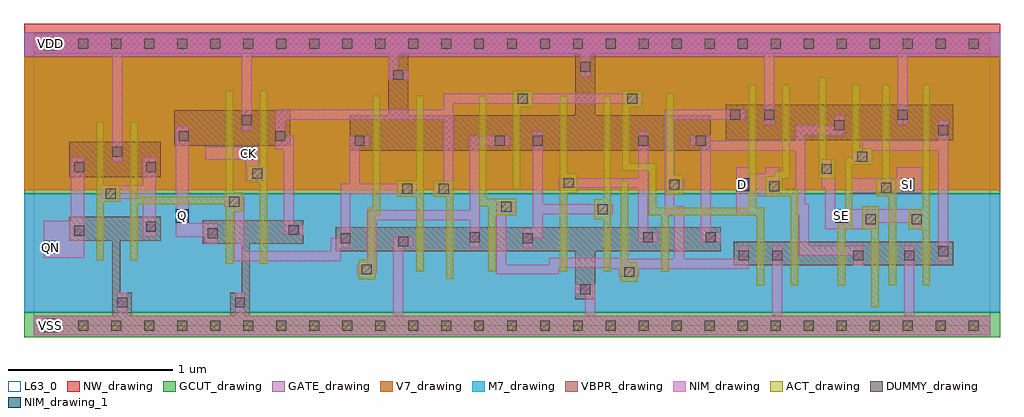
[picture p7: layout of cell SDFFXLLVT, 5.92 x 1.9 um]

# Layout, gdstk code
import gdstk
lib = gdstk.Library(unit=1e-6, precision=5e-10)
def R(c, l, rs):  # rectangles x0, y0, x1, y1
    for r in rs: c.add(gdstk.rectangle(r[:2], r[2:], *l))
def A(c, l, x, y, w, h, nx, ny, dx, dy):  # array of equal rectangles
    R(c, l, [(x+i*dx, y+j*dy, x+i*dx+w, y+j*dy+h) for i in range(nx) for j in range(ny)])
def P(c, l, *ps):  # polygons
    for p in ps: c.add(gdstk.Polygon(p, *l))
VBPR_drawing = (1, 0)
NW_drawing = (2, 0)
ACT_drawing = (3, 0)
GATE_drawing = (4, 0)
GCUT_drawing = (5, 0)
DUMMY_drawing = (6, 0)
NIM_drawing = (7, 0)
NIM_drawing_1 = (7, 1)
M7_drawing = (26, 0)
V7_drawing = (27, 0)
L63_0 = (63, 0)

sdffxllvt = lib.new_cell('SDFFXLLVT')
R(sdffxllvt, VBPR_drawing, [(0,-0.06,5.8,0.06), (4.245,0.365,5.575,0.51), (0.215,0.9,0.77,1.115), (0.85,1.09,1.555,1.305), (4.195,1.125,5.575,1.34), (0,1.65,5.8,1.77)])
P(sdffxllvt, VBPR_drawing, [(4.105,1.275),(3.405,1.275),(3.405,1.65),(3.285,1.65),(3.285,1.275),(2.27,1.275),(2.27,1.65),(2.15,1.65),(2.15,1.275),(1.915,1.275),(1.915,1.06),(4.105,1.06)],
  [(1.635,0.64),(1.025,0.64),(1.025,0.495),(1.26,0.495),(1.26,0.2),(1.19,0.2),(1.19,0.06),(1.31,0.06),(1.31,0.495),(1.635,0.495)],
  [(1.83,0.595),(4.165,0.595),(4.165,0.45),(3.405,0.45),(3.405,0.16),(3.285,0.16),(3.285,0.45),(1.83,0.45)],
  [(0.77,0.66),(0.215,0.66),(0.215,0.515),(0.475,0.515),(0.475,0.06),(0.595,0.06),(0.595,0.2),(0.525,0.2),(0.525,0.515),(0.77,0.515)])
R(sdffxllvt, NW_drawing, [(-0.06,0.82,5.86,1.83)])
P(sdffxllvt, ACT_drawing, [(0.585,1.235),(0.63,1.235),(0.63,0.78),(1.165,0.78),(1.165,1.425),(1.21,1.425),(1.21,0.81),(1.265,0.81),(1.265,0.69),(1.21,0.69),(1.21,0.375),(1.165,0.375),(1.165,0.735),(0.63,0.735),(0.63,0.395),(0.585,0.395)],
  [(1.37,1.425),(1.415,1.425),(1.415,0.375),(1.37,0.375),(1.37,0.87),(1.295,0.87),(1.295,0.97),(1.37,0.97)],
  [(2.905,1.425),(3.025,1.425),(3.025,1.325),(2.95,1.325),(2.95,0.83),(2.905,0.83)],
  [(0.38,1.235),(0.425,1.235),(0.425,0.85),(0.525,0.85),(0.525,0.75),(0.425,0.75),(0.425,0.395),(0.38,0.395)],
  [(2.055,1.395),(2.1,1.395),(2.1,0.67),(2.07,0.67),(2.07,0.28),(1.97,0.28),(1.97,0.4),(2.025,0.4),(2.025,0.715),(2.055,0.715)],
  [(2.32,1.395),(2.365,1.395),(2.365,0.33),(2.32,0.33),(2.32,0.78),(2.205,0.78),(2.205,0.88),(2.32,0.88)],
  [(2.7,1.395),(2.745,1.395),(2.745,0.77),(2.925,0.77),(2.925,0.67),(2.8,0.67),(2.8,0.33),(2.755,0.33),(2.755,0.725),(2.7,0.725)],
  [(3.19,1.395),(3.235,1.395),(3.235,0.925),(3.295,0.925),(3.295,0.805),(3.235,0.805),(3.235,0.33),(3.19,0.33)],
  [(3.57,1.425),(3.69,1.425),(3.69,1.325),(3.615,1.325),(3.615,0.985),(3.775,0.985),(3.775,0.715),(4.335,0.715),(4.335,1.46),(4.38,1.46),(4.38,0.715),(4.43,0.715),(4.43,0.245),(4.385,0.245),(4.385,0.67),(3.85,0.67),(3.85,0.33),(3.805,0.33),(3.805,0.67),(3.73,0.67),(3.73,0.94),(3.57,0.94)],
  [(3.455,1.395),(3.5,1.395),(3.5,0.33),(3.455,0.33),(3.455,0.645),(3.4,0.645),(3.4,0.765),(3.455,0.765)],
  [(3.835,1.41),(3.88,1.41),(3.88,0.915),(3.935,0.915),(3.935,0.795),(3.835,0.795)],
  [(4.54,1.46),(4.585,1.46),(4.585,0.89),(4.54,0.89),(4.54,0.83),(4.635,0.83),(4.635,0.245),(4.59,0.245),(4.59,0.785),(4.44,0.785),(4.44,0.905),(4.495,0.905),(4.495,0.935),(4.54,0.935)],
  [(4.76,1.505),(4.805,1.505),(4.805,1.01),(4.86,1.01),(4.86,0.89),(4.76,0.89)],
  [(4.965,1.46),(5.01,1.46),(5.01,1.075),(5.085,1.075),(5.085,0.975),(4.965,0.975),(4.965,0.585),(4.92,0.585),(4.92,0.245),(4.875,0.245),(4.875,0.63),(4.92,0.63),(4.92,1.02),(4.965,1.02)],
  [(5.145,1.46),(5.19,1.46),(5.19,0.885),(5.23,0.885),(5.23,0.245),(5.185,0.245),(5.185,0.785),(5.11,0.785),(5.11,0.885),(5.145,0.885)],
  [(5.39,1.46),(5.435,1.46),(5.435,0.245),(5.39,0.245),(5.39,0.585),(5.305,0.585),(5.305,0.705),(5.39,0.705)],
  [(2.425,0.88),(2.545,0.88),(2.545,0.285),(2.5,0.285),(2.5,0.78),(2.425,0.78)],
  [(3.56,0.88),(3.605,0.88),(3.605,0.385),(3.66,0.385),(3.66,0.265),(3.56,0.265)],
  [(5.025,0.725),(5.125,0.725),(5.125,0.11),(5.08,0.11),(5.08,0.585),(5.025,0.585)])
R(sdffxllvt, GATE_drawing, [(-0.06,0.08,5.86,0.8), (-0.06,1.63,5.86,1.78)])
R(sdffxllvt, GCUT_drawing, [(-0.06,-0.07,5.86,0.08), (-0.06,0.8,5.86,1.63)])
A(sdffxllvt, DUMMY_drawing, 0.07, -0.03, 0.06, 0.06, 29, 2, 0.2, 1.71)
R(sdffxllvt, DUMMY_drawing, [(0.505,0.11,0.565,0.17), (1.22,0.11,1.28,0.17), (3.315,0.19,3.375,0.25), (3.58,0.295,3.64,0.355), (1.99,0.31,2.05,0.37), (4.275,0.395,4.335,0.455), (4.48,0.395,4.54,0.455), (4.97,0.395,5.03,0.455), (5.28,0.395,5.34,0.455), (5.485,0.42,5.545,0.48), (2.21,0.48,2.27,0.54), (1.86,0.5,1.92,0.56), (2.965,0.5,3.025,0.56), (2.645,0.505,2.705,0.565), (3.695,0.505,3.755,0.565), (4.075,0.505,4.135,0.565), (1.055,0.53,1.115,0.59), (0.245,0.545,0.305,0.605), (1.545,0.55,1.605,0.61), (0.68,0.57,0.74,0.63), (5.045,0.615,5.105,0.675), (5.325,0.615,5.385,0.675), (3.42,0.675,3.48,0.735), (2.835,0.69,2.895,0.75), (1.185,0.72,1.245,0.78), (0.435,0.77,0.495,0.83), (2.235,0.8,2.295,0.86), (2.455,0.8,2.515,0.86), (5.14,0.805,5.2,0.865), (4.46,0.815,4.52,0.875), (3.855,0.825,3.915,0.885), (3.215,0.835,3.275,0.895), (1.325,0.89,1.385,0.95), (4.78,0.92,4.84,0.98), (0.245,0.93,0.305,0.99), (0.68,0.93,0.74,0.99), (4.995,0.995,5.055,1.055), (0.475,1.025,0.535,1.085), (1.945,1.09,2.005,1.15), (2.795,1.09,2.855,1.15), (3.025,1.09,3.085,1.15), (3.665,1.09,3.725,1.15), (4.015,1.09,4.075,1.15), (0.88,1.12,0.94,1.18), (1.465,1.12,1.525,1.18), (5.485,1.155,5.545,1.215), (4.855,1.185,4.915,1.245), (1.26,1.215,1.32,1.275), (4.225,1.25,4.285,1.31), (4.43,1.25,4.49,1.31), (5.24,1.25,5.3,1.31), (2.935,1.345,2.995,1.405), (3.6,1.345,3.66,1.405), (2.18,1.49,2.24,1.55), (3.315,1.54,3.375,1.6)])
R(sdffxllvt, NIM_drawing, [(0.505,0.06,0.565,0.2), (1.22,0.06,1.28,0.2), (4.48,0.06,4.54,0.485), (5.28,0.06,5.34,0.485), (0.475,0.995,0.535,1.65), (1.26,1.185,1.32,1.65), (4.43,1.22,4.49,1.65), (5.24,1.22,5.3,1.65), (3.315,1.51,3.375,1.65)])
P(sdffxllvt, NIM_drawing, [(2.27,1.55),(2.21,1.55),(2.21,1.65),(2.15,1.65),(2.15,1.49),(2.27,1.49)],
  [(2.3,0.54),(2.18,0.54),(2.18,0.06),(2.24,0.06),(2.24,0.48),(2.3,0.48)],
  [(3.405,0.25),(3.285,0.25),(3.285,0.19),(3.345,0.19),(3.345,0.06),(3.405,0.06)],
  [(2.485,1.405),(3.69,1.405),(3.69,1.345),(2.545,1.345),(2.545,0.8),(2.425,0.8),(2.425,0.86),(2.485,0.86),(2.485,1.25),(1.525,1.25),(1.525,1.15),(1.575,1.15),(1.575,0.61),(1.635,0.61),(1.635,0.55),(1.515,0.55),(1.515,1.07),(1.465,1.07),(1.465,1.31),(2.485,1.31)],
  [(0.225,1.02),(0.305,1.02),(0.305,0.41),(0.06,0.41),(0.06,0.635),(0.225,0.635)],
  [(0.86,1.21),(0.94,1.21),(0.94,0.62),(1.115,0.62),(1.115,0.5),(1.035,0.5),(1.035,0.54),(0.86,0.54)],
  [(0.66,1.02),(0.74,1.02),(0.74,0.54),(0.66,0.54),(0.66,0.77),(0.405,0.77),(0.405,0.85),(0.66,0.85)],
  [(1.04,1.085),(1.365,1.085),(1.365,0.96),(1.415,0.96),(1.415,0.88),(1.285,0.88),(1.285,1.005),(1.04,1.005)],
  [(1.915,1.15),(2.035,1.15),(2.035,1.09),(1.975,1.09),(1.975,0.86),(2.325,0.86),(2.325,0.8),(1.92,0.8),(1.92,0.47),(1.86,0.47),(1.86,0.39),(1.215,0.39),(1.215,0.72),(1.155,0.72),(1.155,0.78),(1.275,0.78),(1.275,0.45),(1.8,0.45),(1.8,0.53),(1.86,0.53),(1.86,0.86),(1.915,0.86)],
  [(3.825,1.31),(4.315,1.31),(4.315,1.25),(3.885,1.25),(3.885,0.885),(3.945,0.885),(3.945,0.825),(3.885,0.825),(3.885,0.725),(3.945,0.725),(3.945,0.405),(4.275,0.405),(4.275,0.485),(4.335,0.485),(4.335,0.345),(3.67,0.345),(3.67,0.295),(3.55,0.295),(3.55,0.345),(3.505,0.345),(3.505,0.35),(3.185,0.35),(3.185,0.31),(2.805,0.31),(2.805,0.75),(2.925,0.75),(2.925,0.69),(2.865,0.69),(2.865,0.37),(3.125,0.37),(3.125,0.41),(3.565,0.41),(3.565,0.405),(3.885,0.405),(3.885,0.665),(3.825,0.665)],
  [(3.025,1.18),(3.085,1.18),(3.085,0.735),(3.51,0.735),(3.51,0.675),(3.085,0.675),(3.085,0.53),(3.025,0.53),(3.025,0.47),(2.965,0.47),(2.965,0.59),(3.025,0.59)],
  [(2.645,1.15),(2.885,1.15),(2.885,1.09),(2.705,1.09),(2.705,0.475),(2.645,0.475),(2.645,0.64),(2.08,0.64),(2.08,0.31),(1.96,0.31),(1.96,0.37),(2.02,0.37),(2.02,0.7),(2.645,0.7)],
  [(3.665,1.18),(3.725,1.18),(3.725,0.565),(3.785,0.565),(3.785,0.505),(3.665,0.505),(3.665,0.835),(3.185,0.835),(3.185,0.895),(3.665,0.895)],
  [(4.855,1.275),(4.915,1.275),(4.915,1.155),(4.68,1.155),(4.68,0.735),(4.7,0.735),(4.7,0.485),(5.03,0.485),(5.03,0.365),(4.97,0.365),(4.97,0.425),(4.64,0.425),(4.64,0.675),(4.62,0.675),(4.62,1.06),(4.105,1.06),(4.105,0.565),(4.165,0.565),(4.165,0.505),(4.045,0.505),(4.045,1.09),(3.985,1.09),(3.985,1.15),(4.105,1.15),(4.105,1.12),(4.62,1.12),(4.62,1.215),(4.855,1.215)],
  [(5.485,1.245),(5.545,1.245),(5.545,0.39),(5.485,0.39),(5.485,1.06),(5.085,1.06),(5.085,0.995),(4.965,0.995),(4.965,1.055),(5.025,1.055),(5.025,1.12),(5.485,1.12)],
  [(4.26,0.96),(4.34,0.96),(4.34,0.92),(4.44,0.92),(4.44,0.96),(4.52,0.96),(4.52,0.785),(4.34,0.785),(4.34,0.68),(4.26,0.68)],
  [(4.78,1.01),(4.84,1.01),(4.84,0.895),(4.86,0.895),(4.86,0.705),(5.385,0.705),(5.385,0.585),(5.325,0.585),(5.325,0.625),(5.105,0.625),(5.105,0.585),(4.8,0.585),(4.8,0.835),(4.78,0.835)],
  [(5.235,0.96),(5.385,0.96),(5.385,0.805),(4.96,0.805),(4.96,0.895),(5.235,0.895)])
R(sdffxllvt, NIM_drawing_1, [(0.06,-0.04,0.14,0.04), (0.06,0.435,0.14,0.515), (0.86,0.625,0.94,0.705), (4.86,0.625,4.94,0.705), (4.26,0.815,4.34,0.895), (5.26,0.815,5.34,0.895), (1.26,1.005,1.34,1.085), (0.06,1.67,0.14,1.75)])
R(sdffxllvt, M7_drawing, [(-0.06,0.08,5.86,0.8)])
R(sdffxllvt, V7_drawing, [(-0.06,0.82,5.86,1.63)])
R(sdffxllvt, L63_0, [(0,0,5.8,1.71)])
sdffxllvt.add(gdstk.FlexPath([(0,0),(5.8,0)], 0.12, ends="flush", simple_path=True, layer=7, datatype=0))  # NIM_drawing
sdffxllvt.add(gdstk.FlexPath([(0,1.71),(5.8,1.71)], 0.12, ends="flush", simple_path=True, layer=7, datatype=0))  # NIM_drawing
sdffxllvt.add(gdstk.Label('Q', (0.9,0.665), layer=7, texttype=1))
sdffxllvt.add(gdstk.Label('QN', (0.1,0.475), layer=7, texttype=1))
sdffxllvt.add(gdstk.Label('SE', (4.9,0.665), layer=7, texttype=1))
sdffxllvt.add(gdstk.Label('SI', (5.3,0.855), layer=7, texttype=1))
sdffxllvt.add(gdstk.Label('D', (4.3,0.855), layer=7, texttype=1))
sdffxllvt.add(gdstk.Label('CK', (1.3,1.045), layer=7, texttype=1))
sdffxllvt.add(gdstk.Label('VDD', (0.1,1.71), layer=7, texttype=1))
sdffxllvt.add(gdstk.Label('VSS', (0.1,0), layer=7, texttype=1))
sdffxllvt.add(gdstk.Label('VSS', (0.1,0), layer=7, texttype=1))
sdffxllvt.add(gdstk.Label('VDD', (0.1,1.71), layer=7, texttype=1))
sdffxllvt.add(gdstk.Label('CK', (1.3,1.045), layer=7, texttype=1))
sdffxllvt.add(gdstk.Label('D', (4.3,0.855), layer=7, texttype=1))
sdffxllvt.add(gdstk.Label('SE', (4.9,0.665), layer=7, texttype=1))
sdffxllvt.add(gdstk.Label('QN', (0.1,0.475), layer=7, texttype=1))
sdffxllvt.add(gdstk.Label('Q', (0.9,0.665), layer=7, texttype=1))
sdffxllvt.add(gdstk.Label('SI', (5.3,0.855), layer=7, texttype=1))
sdffxllvt.add(gdstk.Label('SDFFXL', (0,0), layer=63, texttype=0))

lib.write_gds('SDFFXLLVT.gds')
